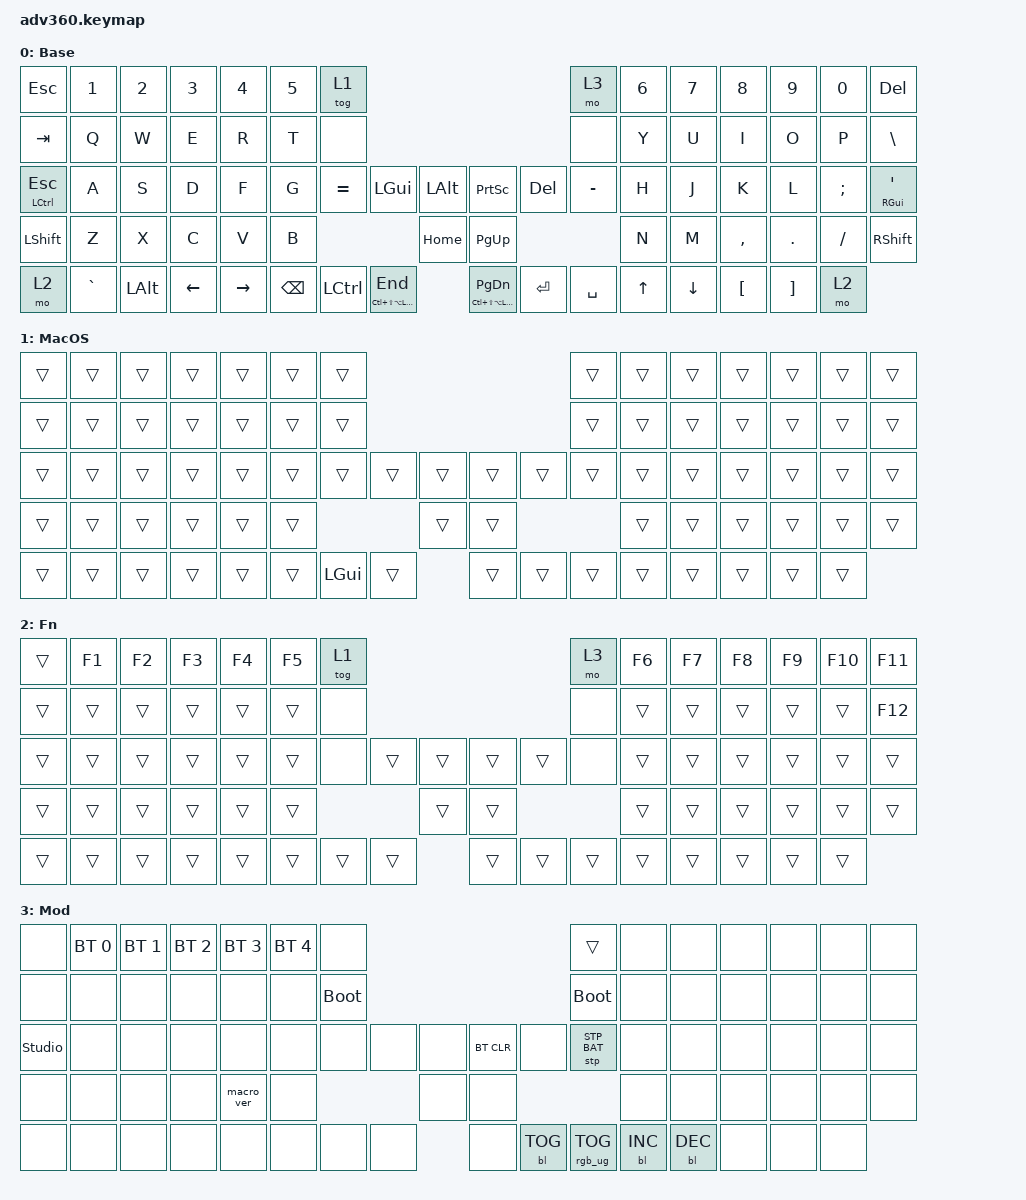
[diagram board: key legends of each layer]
#include <behaviors.dtsi>
#include <dt-bindings/zmk/keys.h>
#include <dt-bindings/zmk/bt.h>
#include <dt-bindings/zmk/rgb.h>
#include <dt-bindings/zmk/stp.h>
#include <dt-bindings/zmk/backlight.h>
#include <dt-bindings/zmk/pointing.h>

#define HYPER LC(LS(LA(LGUI)))

/ {
    behaviors {
      #include "macros.dtsi"
      #include "version.dtsi"

      hm: homerow_mods {
          compatible = "zmk,behavior-hold-tap";
          label = "HOMEROW_MODS";
          #binding-cells = <2>;
          tapping-term-ms = <200>;
          quick-tap-ms = <175>;
          flavor = "tap-preferred";
          bindings = <&kp>, <&kp>;
      };
    };

  keymap {
    compatible = "zmk,keymap";

    // Changes:
    //   - Move -/_ to ④
    //   - Move =/+ to ②
    //   - Move Esc to =/+
    //   - Move Ctrl to Esc
    //   - Move LGUI to Delete
    //   - Move Ins to -/_
    //   - Move Del to RCtrl
    //   - Left row 3 LCTRL: tap Esc, hold LCTRL
    //   - End and PgDn: tap key, hold Hyper
    //   - Caps Lock -> LALT
    //   - Replace Kp layer with MacOS layer (&tog 1): thumb LCTRL -> LGUI
    default_layer {
      display-name = "Base";
      bindings = <
        &kp ESC   &kp N1    &kp N2   &kp N3   &kp N4     &kp N5 &tog 1                                                           &mo 3 &kp N6 &kp N7 &kp N8    &kp N9   &kp N0   &kp DEL
        &kp TAB   &kp Q     &kp W    &kp E    &kp R      &kp T  &none                                                            &none &kp Y  &kp U  &kp I     &kp O    &kp P    &kp BSLH
        &hm LCTRL ESC &kp A &kp S    &kp D    &kp F      &kp G  &kp EQUAL      &kp LGUI &kp LALT &kp PSCRN &kp DEL              &kp MINUS &kp H  &kp J  &kp K     &kp L    &kp SEMI &hm RGUI SQT
        &kp LSHFT &kp Z     &kp X    &kp C    &kp V      &kp B                            &kp HOME &kp PG_UP                           &kp N  &kp M  &kp COMMA &kp DOT  &kp FSLH &kp RSHFT
        &mo 2     &kp GRAVE &kp LALT &kp LEFT &kp RIGHT                &kp BSPC &kp LCTRL  &hm HYPER END &hm HYPER PG_DN &kp ENTER &kp SPACE              &kp UP &kp DOWN  &kp LBKT &kp RBKT &mo 2
      >;
    };
    macos {
      display-name = "MacOS";
      bindings = <
        &trans &trans &trans &trans &trans &trans &trans                                           &trans &trans &trans &trans &trans &trans &trans
        &trans &trans &trans &trans &trans &trans &trans                                           &trans &trans &trans &trans &trans &trans &trans
        &trans &trans &trans &trans &trans &trans &trans        &trans &trans &trans &trans        &trans &trans &trans &trans &trans &trans &trans
        &trans &trans &trans &trans &trans &trans                      &trans &trans                      &trans &trans &trans &trans &trans &trans
        &trans &trans &trans &trans &trans               &trans &kp LGUI &trans &trans &trans &trans         &trans &trans &trans &trans &trans
      >;
    };
    fn {
      display-name = "Fn";
      bindings = <
        &trans  &kp F1 &kp F2 &kp F3 &kp F4 &kp F5 &tog 1                                           &mo 3 &kp F6 &kp F7 &kp F8 &kp F9 &kp F10 &kp F11
        &trans &trans &trans &trans &trans &trans  &none                                           &none &trans &trans &trans &trans  &trans  &kp F12
        &trans &trans &trans &trans &trans &trans  &none        &trans &trans &trans &trans        &none &trans &trans &trans &trans  &trans  &trans
        &trans &trans &trans &trans &trans &trans                      &trans &trans                     &trans &trans &trans &trans  &trans  &trans
        &trans &trans &trans &trans &trans               &trans &trans &trans &trans &trans &trans              &trans &trans &trans  &trans  &trans
      >;
    };
    mod {
      display-name = "Mod";
      bindings = <
        &none &bt BT_SEL 0 &bt BT_SEL 1 &bt BT_SEL 2 &bt BT_SEL 3 &bt BT_SEL 4 &none                                                                     &trans                 &none        &none        &none        &none &none &none
        &none &none        &none        &none        &none        &none        &bootloader                                                               &bootloader            &none        &none        &none        &none &none &none
        &studio_unlock &none        &none        &none        &none        &none        &none                   &none &none &bt BT_CLR &none                      &stp STP_BAT &none        &none        &none        &none &none &none
        &none &none        &none        &none        &macro_ver   &none                                      &none &none                                                        &none        &none        &none        &none &none &none
        &none &none        &none        &none        &none                                       &none &none &none &none      &bl BL_TOG &rgb_ug RGB_TOG                                     &bl BL_INC   &bl BL_DEC   &none &none &none
      >;
    };
    extra1 { 
      display-name = "Red";    
      status = "reserved";
    };

    extra2 { 
      display-name = "Purple";    
      status = "reserved";
    };

    extra3 { 
      display-name = "Cyan";    
      status = "reserved";
    };

    extra4 { 
      display-name = "Yellow";    
      status = "reserved";
    };
  };
};
